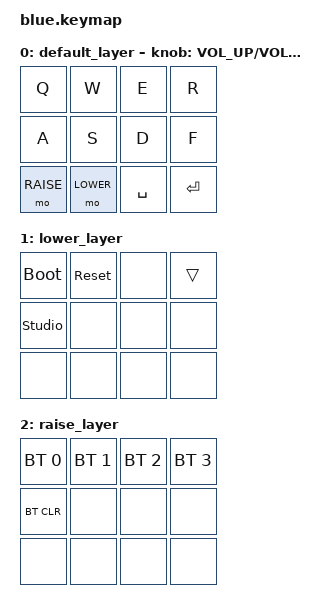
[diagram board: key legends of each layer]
/*
 * Copyright (c) 2020 The ZMK Contributors
 *
 * SPDX-License-Identifier: MIT
 */

#include <behaviors.dtsi>
#include <dt-bindings/zmk/keys.h>
#include <dt-bindings/zmk/bt.h>

#define DEFAULT 0
#define LOWER   1
#define RAISE   2


/ {
        keymap {
                compatible = "zmk,keymap";
                
                default_layer {
                        sensor-bindings = <&inc_dec_kp C_VOL_UP C_VOL_DN>;

                        bindings = <
                                &kp  Q           &kp  W        &kp  E        &kp  R 
                                &kp  A   &kp  S        &kp  D        &kp  F
                                &mo  RAISE       &mo  LOWER    &kp  SPACE    &kp  RET 
                        >;
                };
                lower_layer {

                        bindings = <
                                &bootloader        &sys_reset    &none         &trans
                                &studio_unlock     &none         &none         &none 
                                &none              &none         &none         &none 
                        >;
                };
                raise_layer {

                        bindings = <
                                &bt BT_SEL 0  &bt BT_SEL 1  &bt BT_SEL 2  &bt BT_SEL 3
                                &bt BT_CLR         &none         &none         &none   
                                &none         &none         &none         &none    
                        >;
                };
        };
};
